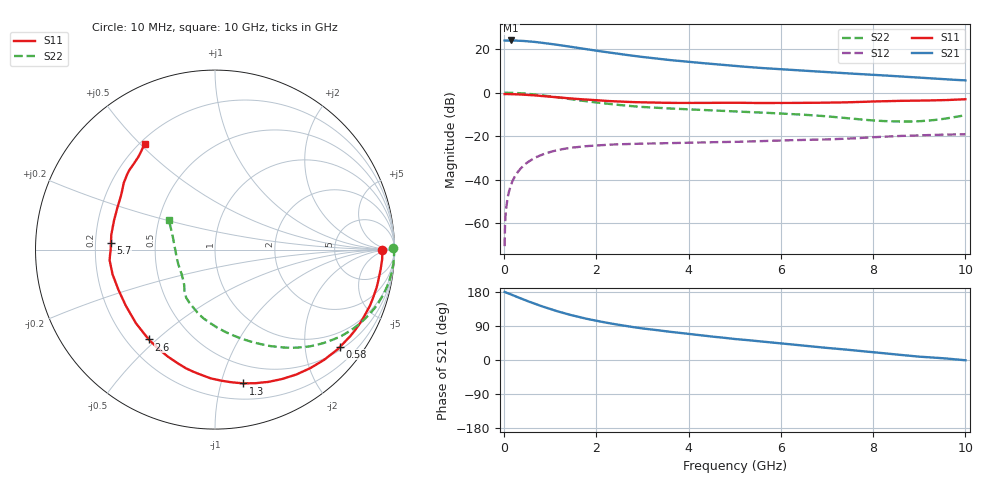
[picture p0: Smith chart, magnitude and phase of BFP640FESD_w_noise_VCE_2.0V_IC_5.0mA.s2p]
! Infineon Technologies  Discrete & RF Semiconductors
! BFP640FESD
! VCE =  2.0 V,  IC =  5.0 mA
! Common Emitter S-Parameters:  Jan 2016
# GHz  S  MA  R  50
!  f  S11  S21  S12  S22
! GHz  MAG  ANG  MAG  ANG  MAG  ANG  MAG  ANG
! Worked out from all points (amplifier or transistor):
!   233 points, 10 MHz to 10 GHz, reference 50 ohm
!   highest |S21| = 24.0 dB at 150 MHz (marker M1)
!   |S21| within 3 dB of that: start of sweep to 1.47 GHz
!   unconditionally stable (mu >= 1): 6.009 GHz to end of sweep
!   at 200 MHz: K = 0.01, MSG = 31.9 dB, |S12| = -39.7 dB
!   at 1.74 GHz: K = 0.29, MSG = 22.4 dB, |S12| = -24.6 dB
!   at 10 GHz: K = 1.22, MAG = 9.5 dB, |S12| = -19.1 dB
!   lowest NFmin = 0.54 dB at 450 MHz
!   S11 on the Smith chart (normalised r, x): 10 MHz: 28, -1; 580 MHz: 0.58, -2.82; 1.3 GHz: 0.33, -1.18; 2.6 GHz: 0.29, -0.47; 5.7 GHz: 0.27, +0.03; 10 GHz: 0.22, +0.52
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0.01  0.9305 -0.2  15.79 179.6  0.0003 86.3  0.9915 0.6
0.02  0.9322 -1.3  15.73 179.1  0.001 83.7  0.9986 -0.8
0.04  0.9325 -2.6  15.74 178.0  0.0021 87.9  0.9984 -1.6
0.15  0.9269 -10.0  15.85 172.9  0.0077 84.5  0.9949 -6.2
0.34  0.9129 -22.6  15.62 163.6  0.0173 77.6  0.975 -13.9
0.58  0.8825 -37.8  14.96 152.2  0.0284 69.1  0.9306 -23.0
0.7  0.8642 -45.3  14.55 146.8  0.0333 65.3  0.904 -27.4
0.9  0.8306 -56.9  13.71 138.4  0.0406 59.2  0.8533 -34.3
1.1  0.7952 -67.9  12.83 130.6  0.0466 53.7  0.7999 -40.5
1.3  0.7618 -78.1  11.96 123.4  0.0515 48.9  0.7471 -46.4
1.68  0.7057 -95.2  10.39 111.7  0.058 41.5  0.6574 -55.8
1.92  0.6788 -104.3  9.503 105.4  0.061 38.0  0.6108 -61.2
2.2  0.6512 -113.9  8.599 98.8  0.0635 34.6  0.5647 -66.8
2.6  0.622 -126.4  7.514 90.5  0.0662 30.8  0.5105 -74.5
3  0.6021 -137.0  6.623 83.3  0.0677 28.1  0.471 -81.2
3.4  0.5883 -145.8  5.918 77.4  0.0689 26.6  0.4454 -86.2
4.3  0.5837 -162.8  4.791 64.8  0.0723 24.8  0.4016 -96.0
5.1  0.5879 -175.5  4.043 54.4  0.0748 24.0  0.3675 -104.9
5.7  0.5808 176.4  3.629 47.5  0.078 24.6  0.3454 -110.4
6.8  0.5883 159.5  3.069 34.4  0.0839 23.7  0.2971 -124.0
8.4  0.6452 139.2  2.433 15.7  0.0999 23.3  0.2207 -157.0
10  0.7085 123.5  1.921 -0.7  0.1115 17.2  0.3047 147.5
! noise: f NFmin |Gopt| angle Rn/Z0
0.45  0.54  0.48  8  0.13
2.4  0.7  0.27  57  0.12
5.5  0.99  0.39  149  0.08
10  1.84  0.51  -122  0.24
